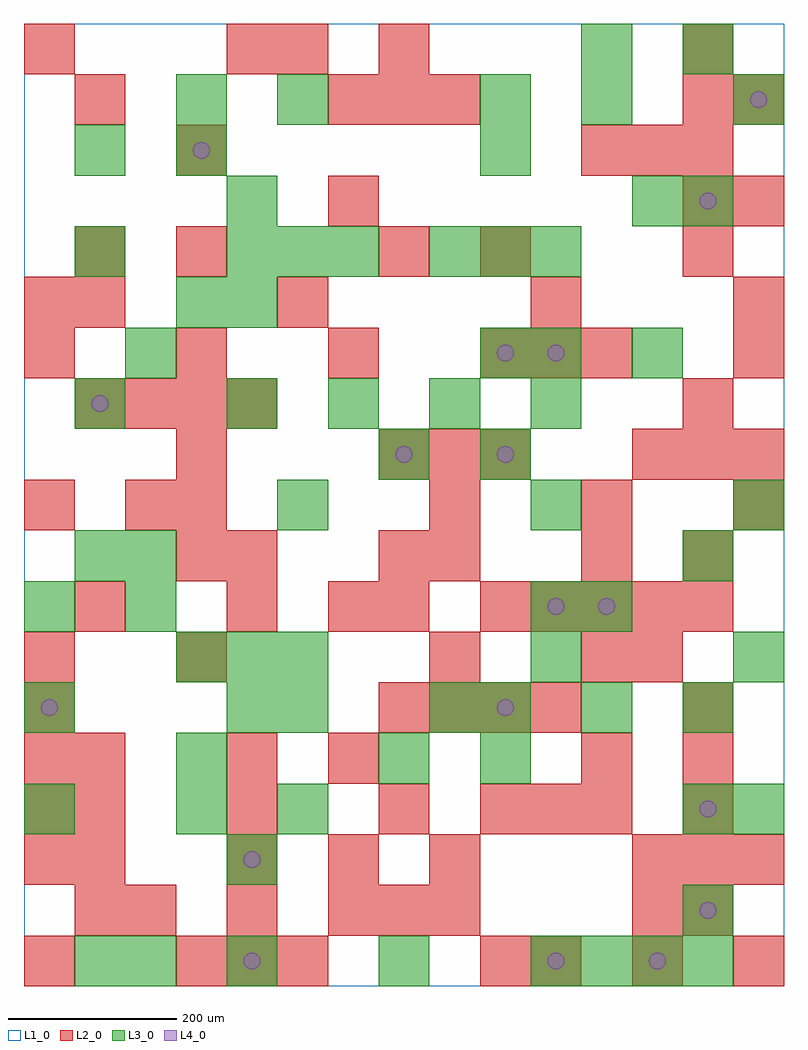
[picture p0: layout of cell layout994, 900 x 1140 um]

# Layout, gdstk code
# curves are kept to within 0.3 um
import gdstk
lib = gdstk.Library(unit=1e-6, precision=1e-09)
def R(c, l, rs):  # rectangles x0, y0, x1, y1
    for r in rs: c.add(gdstk.rectangle(r[:2], r[2:], *l))
def A(c, l, x, y, w, h, nx, ny, dx, dy):  # array of equal rectangles
    R(c, l, [(x+i*dx, y+j*dy, x+i*dx+w, y+j*dy+h) for i in range(nx) for j in range(ny)])
def P(c, l, *ps):  # polygons
    for p in ps: c.add(gdstk.Polygon(p, *l))
L1_0 = (1, 0)
L2_0 = (2, 0)
L3_0 = (3, 0)
L4_0 = (4, 0)

layout994 = lib.new_cell('layout994')
R(layout994, L1_0, [(0,0,900,1140)])
A(layout994, L2_0, 180, 0, 60, 60, 3, 1, 60, 0)
A(layout994, L2_0, 600, 0, 60, 60, 3, 1, 120, 0)
A(layout994, L2_0, 120, 60, 60, 60, 3, 1, 120, 0)
A(layout994, L2_0, 0, 120, 60, 60, 1, 5, 0, 60)
A(layout994, L2_0, 240, 120, 60, 60, 3, 1, 120, 0)
A(layout994, L2_0, 720, 120, 60, 60, 3, 2, 60, 480)
A(layout994, L2_0, 60, 180, 60, 60, 3, 1, 180, 0)
A(layout994, L2_0, 540, 180, 60, 60, 3, 1, 60, 0)
A(layout994, L2_0, 780, 180, 60, 60, 1, 3, 0, 60)
A(layout994, L2_0, 660, 240, 60, 60, 1, 3, 0, 120)
A(layout994, L2_0, 420, 300, 60, 60, 4, 1, 60, 0)
A(layout994, L2_0, 540, 420, 60, 60, 5, 1, 60, 0)
A(layout994, L2_0, 180, 480, 60, 60, 1, 3, 0, 60)
A(layout994, L2_0, 780, 480, 60, 60, 1, 3, 0, 180)
A(layout994, L2_0, 480, 540, 60, 60, 3, 1, 180, 0)
A(layout994, L2_0, 420, 600, 60, 60, 3, 1, 60, 0)
A(layout994, L2_0, 60, 660, 60, 60, 4, 1, 60, 0)
A(layout994, L2_0, 0, 720, 60, 60, 4, 1, 180, 0)
A(layout994, L2_0, 840, 780, 60, 60, 1, 3, 0, 120)
A(layout994, L2_0, 660, 960, 60, 60, 3, 1, 60, 0)
A(layout994, L2_0, 360, 1020, 60, 60, 3, 1, 60, 0)
R(layout994, L2_0, [(0,0,60,60), (540,0,600,60), (60,60,120,120), (420,60,480,120), (480,60,540,120), (720,60,780,120), (780,60,840,120), (60,120,120,180), (60,240,120,300), (240,240,300,300), (360,240,420,300), (180,360,240,420), (480,360,540,420), (720,360,780,420), (60,420,120,480), (240,420,300,480), (360,420,420,480), (420,420,480,480), (240,480,300,540), (420,480,480,540), (480,480,540,540), (0,540,60,600), (120,540,180,600), (600,720,660,780), (660,720,720,780), (840,720,900,780), (0,780,60,840), (60,780,120,840), (300,780,360,840), (600,780,660,840), (60,840,120,900), (180,840,240,900), (420,840,480,900), (540,840,600,900), (360,900,420,960), (780,900,840,960), (180,960,240,1020), (60,1020,120,1080), (780,1020,840,1080), (0,1080,60,1140), (240,1080,300,1140), (300,1080,360,1140), (420,1080,480,1140), (780,1080,840,1140)])
A(layout994, L3_0, 240, 0, 60, 60, 3, 1, 180, 0)
A(layout994, L3_0, 660, 0, 60, 60, 3, 1, 60, 0)
A(layout994, L3_0, 0, 180, 60, 60, 1, 3, 0, 120)
A(layout994, L3_0, 840, 180, 60, 60, 1, 3, 0, 180)
A(layout994, L3_0, 540, 300, 60, 60, 3, 1, 120, 0)
A(layout994, L3_0, 180, 360, 60, 60, 3, 1, 60, 0)
A(layout994, L3_0, 60, 480, 60, 60, 1, 3, 0, 180)
A(layout994, L3_0, 240, 660, 60, 60, 4, 1, 120, 0)
A(layout994, L3_0, 240, 840, 60, 60, 3, 1, 60, 0)
A(layout994, L3_0, 480, 840, 60, 60, 3, 1, 60, 0)
R(layout994, L3_0, [(60,0,120,60), (120,0,180,60), (780,60,840,120), (240,120,300,180), (180,180,240,240), (300,180,360,240), (780,180,840,240), (180,240,240,300), (420,240,480,300), (540,240,600,300), (240,300,300,360), (300,300,360,360), (480,300,540,360), (600,360,660,420), (120,420,180,480), (600,420,660,480), (660,420,720,480), (120,480,180,540), (780,480,840,540), (300,540,360,600), (600,540,660,600), (420,600,480,660), (540,600,600,660), (120,720,180,780), (540,720,600,780), (600,720,660,780), (720,720,780,780), (180,780,240,840), (240,780,300,840), (240,900,300,960), (720,900,780,960), (780,900,840,960), (60,960,120,1020), (180,960,240,1020), (540,960,600,1020), (180,1020,240,1080), (300,1020,360,1080), (540,1020,600,1080), (660,1020,720,1080), (840,1020,900,1080), (660,1080,720,1140), (780,1080,840,1140)])
P(layout994, L4_0, [(40,330),(39.239,333.827),(37.071,337.071),(33.827,339.239),(30,340),(26.173,339.239),(22.929,337.071),(20.761,333.827),(20,330),(20.761,326.173),(22.929,322.929),(26.173,320.761),(30,320),(33.827,320.761),(37.071,322.929),(39.239,326.173)],
  [(100,690),(99.239,693.827),(97.071,697.071),(93.827,699.239),(90,700),(86.173,699.239),(82.929,697.071),(80.761,693.827),(80,690),(80.761,686.173),(82.929,682.929),(86.173,680.761),(90,680),(93.827,680.761),(97.071,682.929),(99.239,686.173)],
  [(220,990),(219.239,993.827),(217.071,997.071),(213.827,999.239),(210,1000),(206.173,999.239),(202.929,997.071),(200.761,993.827),(200,990),(200.761,986.173),(202.929,982.929),(206.173,980.761),(210,980),(213.827,980.761),(217.071,982.929),(219.239,986.173)],
  [(280,30),(279.239,33.827),(277.071,37.071),(273.827,39.239),(270,40),(266.173,39.239),(262.929,37.071),(260.761,33.827),(260,30),(260.761,26.173),(262.929,22.929),(266.173,20.761),(270,20),(273.827,20.761),(277.071,22.929),(279.239,26.173)],
  [(280,150),(279.239,153.827),(277.071,157.071),(273.827,159.239),(270,160),(266.173,159.239),(262.929,157.071),(260.761,153.827),(260,150),(260.761,146.173),(262.929,142.929),(266.173,140.761),(270,140),(273.827,140.761),(277.071,142.929),(279.239,146.173)],
  [(460,630),(459.239,633.827),(457.071,637.071),(453.827,639.239),(450,640),(446.173,639.239),(442.929,637.071),(440.761,633.827),(440,630),(440.761,626.173),(442.929,622.929),(446.173,620.761),(450,620),(453.827,620.761),(457.071,622.929),(459.239,626.173)],
  [(580,330),(579.239,333.827),(577.071,337.071),(573.827,339.239),(570,340),(566.173,339.239),(562.929,337.071),(560.761,333.827),(560,330),(560.761,326.173),(562.929,322.929),(566.173,320.761),(570,320),(573.827,320.761),(577.071,322.929),(579.239,326.173)],
  [(580,630),(579.239,633.827),(577.071,637.071),(573.827,639.239),(570,640),(566.173,639.239),(562.929,637.071),(560.761,633.827),(560,630),(560.761,626.173),(562.929,622.929),(566.173,620.761),(570,620),(573.827,620.761),(577.071,622.929),(579.239,626.173)],
  [(580,750),(579.239,753.827),(577.071,757.071),(573.827,759.239),(570,760),(566.173,759.239),(562.929,757.071),(560.761,753.827),(560,750),(560.761,746.173),(562.929,742.929),(566.173,740.761),(570,740),(573.827,740.761),(577.071,742.929),(579.239,746.173)],
  [(640,30),(639.239,33.827),(637.071,37.071),(633.827,39.239),(630,40),(626.173,39.239),(622.929,37.071),(620.761,33.827),(620,30),(620.761,26.173),(622.929,22.929),(626.173,20.761),(630,20),(633.827,20.761),(637.071,22.929),(639.239,26.173)],
  [(640,450),(639.239,453.827),(637.071,457.071),(633.827,459.239),(630,460),(626.173,459.239),(622.929,457.071),(620.761,453.827),(620,450),(620.761,446.173),(622.929,442.929),(626.173,440.761),(630,440),(633.827,440.761),(637.071,442.929),(639.239,446.173)],
  [(640,750),(639.239,753.827),(637.071,757.071),(633.827,759.239),(630,760),(626.173,759.239),(622.929,757.071),(620.761,753.827),(620,750),(620.761,746.173),(622.929,742.929),(626.173,740.761),(630,740),(633.827,740.761),(637.071,742.929),(639.239,746.173)],
  [(700,450),(699.239,453.827),(697.071,457.071),(693.827,459.239),(690,460),(686.173,459.239),(682.929,457.071),(680.761,453.827),(680,450),(680.761,446.173),(682.929,442.929),(686.173,440.761),(690,440),(693.827,440.761),(697.071,442.929),(699.239,446.173)],
  [(760,30),(759.239,33.827),(757.071,37.071),(753.827,39.239),(750,40),(746.173,39.239),(742.929,37.071),(740.761,33.827),(740,30),(740.761,26.173),(742.929,22.929),(746.173,20.761),(750,20),(753.827,20.761),(757.071,22.929),(759.239,26.173)],
  [(820,90),(819.239,93.827),(817.071,97.071),(813.827,99.239),(810,100),(806.173,99.239),(802.929,97.071),(800.761,93.827),(800,90),(800.761,86.173),(802.929,82.929),(806.173,80.761),(810,80),(813.827,80.761),(817.071,82.929),(819.239,86.173)],
  [(820,210),(819.239,213.827),(817.071,217.071),(813.827,219.239),(810,220),(806.173,219.239),(802.929,217.071),(800.761,213.827),(800,210),(800.761,206.173),(802.929,202.929),(806.173,200.761),(810,200),(813.827,200.761),(817.071,202.929),(819.239,206.173)],
  [(820,930),(819.239,933.827),(817.071,937.071),(813.827,939.239),(810,940),(806.173,939.239),(802.929,937.071),(800.761,933.827),(800,930),(800.761,926.173),(802.929,922.929),(806.173,920.761),(810,920),(813.827,920.761),(817.071,922.929),(819.239,926.173)],
  [(880,1050),(879.239,1053.827),(877.071,1057.071),(873.827,1059.239),(870,1060),(866.173,1059.239),(862.929,1057.071),(860.761,1053.827),(860,1050),(860.761,1046.173),(862.929,1042.929),(866.173,1040.761),(870,1040),(873.827,1040.761),(877.071,1042.929),(879.239,1046.173)])

lib.write_gds('layout994.gds')
